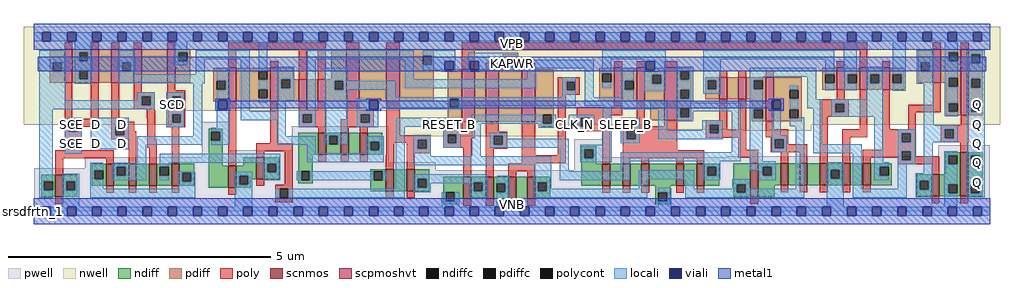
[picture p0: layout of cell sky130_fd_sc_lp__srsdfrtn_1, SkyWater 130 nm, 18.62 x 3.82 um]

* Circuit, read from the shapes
.subckt sky130_fd_sc_lp__srsdfrtn_1 CLK_N D RESET_B SCD SCE SLEEP_B KAPWR VGND VNB VPB VPWR Q
XM1 VGND SCE n1 VNB sky130_fd_pr__nfet_01v8 w=0.42 l=0.15
XM2 n2 SCE n3 VNB sky130_fd_pr__nfet_01v8 w=0.42 l=0.15
XM3 n4 D n2 VNB sky130_fd_pr__nfet_01v8 w=0.42 l=0.15
XM4 n5 n1 n4 VNB sky130_fd_pr__nfet_01v8 w=0.42 l=0.15
XM5 n3 SCD n5 VNB sky130_fd_pr__nfet_01v8 w=0.42 l=0.15
XM6 VGND n6 n7 VNB sky130_fd_pr__nfet_01v8 w=0.42 l=0.15
XM7 n5 RESET_B VGND VNB sky130_fd_pr__nfet_01v8 w=0.42 l=0.15
XM8 n8 n6 n9 VNB sky130_fd_pr__nfet_01v8 w=0.42 l=0.15
XM9 n10 n7 n8 VNB sky130_fd_pr__nfet_01v8 w=0.42 l=0.15
XM10 n2 n7 n10 VNB sky130_fd_pr__nfet_01v8 w=0.42 l=0.15
XM11 n11 n12 n9 VNB sky130_fd_pr__nfet_01v8 w=0.42 l=0.15
XM12 n13 n12 n11 VNB sky130_fd_pr__nfet_01v8 w=0.42 l=0.15
XM13 n13 RESET_B VGND VNB sky130_fd_pr__nfet_01v8 w=0.42 l=0.15
XM14 VGND n14 n13 VNB sky130_fd_pr__nfet_01v8 w=0.42 l=0.15
XM15 n15 n8 VGND VNB sky130_fd_pr__nfet_01v8 w=0.42 l=0.15
XM16 n12 n8 n15 VNB sky130_fd_pr__nfet_01v8 w=0.42 l=0.15
XM17 n16 CLK_N n6 VNB sky130_fd_pr__nfet_01v8 w=0.42 l=0.15
XM18 n17 SLEEP_B n16 VNB sky130_fd_pr__nfet_01v8 w=0.42 l=0.15
XM19 VGND SLEEP_B n17 VNB sky130_fd_pr__nfet_01v8 w=0.42 l=0.15
XM20 n18 SLEEP_B VGND VNB sky130_fd_pr__nfet_01v8 w=0.42 l=0.15
XM21 n14 SLEEP_B n18 VNB sky130_fd_pr__nfet_01v8 w=0.42 l=0.15
XM22 n19 n6 n12 VNB sky130_fd_pr__nfet_01v8 w=0.64 l=0.15
XM23 n20 n7 n19 VNB sky130_fd_pr__nfet_01v8 w=0.42 l=0.15
XM24 n21 n7 n20 VNB sky130_fd_pr__nfet_01v8 w=0.42 l=0.15
XM25 VGND n22 n21 VNB sky130_fd_pr__nfet_01v8 w=0.42 l=0.15
XM26 n23 RESET_B VGND VNB sky130_fd_pr__nfet_01v8 w=0.42 l=0.15
XM27 n22 n19 n23 VNB sky130_fd_pr__nfet_01v8 w=0.42 l=0.15
XM28 VGND n19 n24 VNB sky130_fd_pr__nfet_01v8 w=0.42 l=0.15
XM29 Q n24 VGND VNB sky130_fd_pr__nfet_01v8 w=0.84 l=0.15
XM30 VPWR SCE n1 VPB sky130_fd_pr__pfet_01v8_hvt w=0.64 l=0.15
XM31 n25 SCE VPWR VPB sky130_fd_pr__pfet_01v8_hvt w=0.64 l=0.15
XM32 n2 D n25 VPB sky130_fd_pr__pfet_01v8_hvt w=0.64 l=0.15
XM33 n26 n1 n2 VPB sky130_fd_pr__pfet_01v8_hvt w=0.64 l=0.15
XM34 VPWR SCD n26 VPB sky130_fd_pr__pfet_01v8_hvt w=0.64 l=0.15
XM35 VPWR n6 n7 VPB sky130_fd_pr__pfet_01v8_hvt w=0.64 l=0.15
XM36 n2 RESET_B VPWR VPB sky130_fd_pr__pfet_01v8_hvt w=0.64 l=0.15
XM37 n27 n6 n2 VPB sky130_fd_pr__pfet_01v8_hvt w=0.42 l=0.15
XM38 n8 n6 n27 VPB sky130_fd_pr__pfet_01v8_hvt w=0.42 l=0.15
XM39 n28 n7 n8 VPB sky130_fd_pr__pfet_01v8_hvt w=1 l=0.25
XM40 KAPWR n12 n28 VPB sky130_fd_pr__pfet_01v8_hvt w=1 l=0.25
XM41 n29 RESET_B n8 VPB sky130_fd_pr__pfet_01v8_hvt w=1 l=0.25
XM42 KAPWR n14 n29 VPB sky130_fd_pr__pfet_01v8_hvt w=1 l=0.25
XM43 n12 n8 KAPWR VPB sky130_fd_pr__pfet_01v8_hvt w=1 l=0.25
XM44 n6 CLK_N KAPWR VPB sky130_fd_pr__pfet_01v8_hvt w=0.64 l=0.15
XM45 KAPWR SLEEP_B n6 VPB sky130_fd_pr__pfet_01v8_hvt w=0.64 l=0.15
XM46 n14 SLEEP_B KAPWR VPB sky130_fd_pr__pfet_01v8_hvt w=1 l=0.25
XM47 n30 n6 n31 VPB sky130_fd_pr__pfet_01v8_hvt w=0.42 l=0.15
XM48 n19 n6 n30 VPB sky130_fd_pr__pfet_01v8_hvt w=0.42 l=0.15
XM49 n12 n7 n19 VPB sky130_fd_pr__pfet_01v8_hvt w=0.84 l=0.15
XM50 VPWR n22 n31 VPB sky130_fd_pr__pfet_01v8_hvt w=0.42 l=0.15
XM51 n22 RESET_B VPWR VPB sky130_fd_pr__pfet_01v8_hvt w=0.42 l=0.15
XM52 VPWR n19 n22 VPB sky130_fd_pr__pfet_01v8_hvt w=0.42 l=0.15
XM53 VPWR n19 n24 VPB sky130_fd_pr__pfet_01v8_hvt w=0.64 l=0.15
XM54 Q n24 VPWR VPB sky130_fd_pr__pfet_01v8_hvt w=1.26 l=0.15
.ends

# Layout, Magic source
magic
tech sky130A
magscale 1 2
<< nwell >>
rect -38 383 3686 704
rect -38 331 534 383
rect 1396 331 3686 383
rect 1396 286 2020 331
rect 2316 311 2965 331
rect 2703 307 2965 311
<< pwell >>
rect 640 233 746 341
rect 983 233 1354 325
rect 640 207 1354 233
rect 194 187 1354 207
rect 2062 207 2172 275
rect 3451 209 3647 251
rect 2643 207 3647 209
rect 194 165 1534 187
rect 1 157 1534 165
rect 2062 157 3647 207
rect 1 49 3647 157
rect 0 0 3648 49
<< scnmos >>
rect 82 55 112 139
rect 275 97 305 181
rect 361 97 391 181
rect 439 97 469 181
rect 525 97 555 181
rect 742 89 772 173
rect 849 123 879 207
rect 1085 215 1115 299
rect 1171 215 1201 299
rect 1243 215 1273 299
rect 1343 77 1373 161
rect 1423 77 1453 161
rect 1638 47 1668 131
rect 1724 47 1754 131
rect 1810 47 1840 131
rect 1882 47 1912 131
rect 2168 97 2198 181
rect 2246 97 2276 181
rect 2318 97 2348 181
rect 2450 97 2480 181
rect 2528 97 2558 181
rect 2733 55 2763 183
rect 2849 99 2879 183
rect 2921 99 2951 183
rect 2999 99 3029 183
rect 3085 99 3115 183
rect 3163 99 3193 183
rect 3425 57 3455 141
rect 3534 57 3564 225
<< scpmoshvt >>
rect 117 491 147 619
rect 217 491 247 619
rect 295 491 325 619
rect 381 491 411 619
rect 509 491 539 619
rect 742 419 772 547
rect 902 419 932 547
rect 1011 419 1041 503
rect 1083 419 1113 503
rect 1192 419 1242 619
rect 1345 419 1395 619
rect 1632 341 1682 541
rect 1724 341 1774 541
rect 1862 341 1912 541
rect 2214 419 2244 547
rect 2300 419 2330 547
rect 2405 347 2455 547
rect 2615 427 2645 511
rect 2687 427 2717 511
rect 2792 343 2822 511
rect 3064 463 3094 547
rect 3150 463 3180 547
rect 3236 463 3266 547
rect 3429 491 3459 619
rect 3536 367 3566 619
<< ndiff >>
rect 666 303 720 315
rect 666 269 676 303
rect 710 269 720 303
rect 220 156 275 181
rect 27 114 82 139
rect 27 80 37 114
rect 71 80 82 114
rect 27 55 82 80
rect 112 114 166 139
rect 112 80 123 114
rect 157 80 166 114
rect 220 122 230 156
rect 264 122 275 156
rect 220 97 275 122
rect 305 169 361 181
rect 305 135 316 169
rect 350 135 361 169
rect 305 97 361 135
rect 391 97 439 181
rect 469 169 525 181
rect 469 135 480 169
rect 514 135 525 169
rect 469 97 525 135
rect 555 147 612 181
rect 555 113 566 147
rect 600 113 612 147
rect 555 97 612 113
rect 666 173 720 269
rect 799 173 849 207
rect 112 55 166 80
rect 666 89 742 173
rect 772 135 849 173
rect 772 101 783 135
rect 817 123 849 135
rect 879 182 936 207
rect 879 148 890 182
rect 924 148 936 182
rect 879 123 936 148
rect 817 101 827 123
rect 772 89 827 101
rect 1009 215 1085 299
rect 1115 289 1171 299
rect 1115 255 1126 289
rect 1160 255 1171 289
rect 1115 215 1171 255
rect 1201 215 1243 299
rect 1273 266 1328 299
rect 1273 232 1284 266
rect 1318 232 1328 266
rect 1273 215 1328 232
rect 1009 153 1063 215
rect 1009 119 1019 153
rect 1053 119 1063 153
rect 1009 107 1063 119
rect 1284 153 1343 161
rect 1284 119 1296 153
rect 1330 119 1343 153
rect 1284 77 1343 119
rect 1373 77 1423 161
rect 1453 124 1508 161
rect 2088 237 2146 249
rect 2088 203 2100 237
rect 2134 203 2146 237
rect 2088 181 2146 203
rect 3477 213 3534 225
rect 1453 90 1464 124
rect 1498 90 1508 124
rect 1453 77 1508 90
rect 1562 73 1638 131
rect 1562 39 1572 73
rect 1606 47 1638 73
rect 1668 110 1724 131
rect 1668 76 1679 110
rect 1713 76 1724 110
rect 1668 47 1724 76
rect 1754 106 1810 131
rect 1754 72 1765 106
rect 1799 72 1810 106
rect 1754 47 1810 72
rect 1840 47 1882 131
rect 1912 110 1969 131
rect 1912 76 1923 110
rect 1957 76 1969 110
rect 2088 97 2168 181
rect 2198 97 2246 181
rect 2276 97 2318 181
rect 2348 97 2450 181
rect 2480 97 2528 181
rect 2558 169 2615 181
rect 2558 135 2569 169
rect 2603 135 2615 169
rect 2558 97 2615 135
rect 2669 104 2733 183
rect 1912 47 1969 76
rect 2370 73 2428 97
rect 1606 39 1616 47
rect 1562 27 1616 39
rect 2370 39 2382 73
rect 2416 39 2428 73
rect 2669 70 2681 104
rect 2715 70 2733 104
rect 2669 55 2733 70
rect 2763 170 2849 183
rect 2763 136 2781 170
rect 2815 136 2849 170
rect 2763 99 2849 136
rect 2879 99 2921 183
rect 2951 99 2999 183
rect 3029 158 3085 183
rect 3029 124 3040 158
rect 3074 124 3085 158
rect 3029 99 3085 124
rect 3115 99 3163 183
rect 3193 170 3273 183
rect 3193 136 3227 170
rect 3261 136 3273 170
rect 3477 179 3489 213
rect 3523 179 3534 213
rect 3477 141 3534 179
rect 3193 99 3273 136
rect 3368 116 3425 141
rect 2763 55 2827 99
rect 3368 82 3380 116
rect 3414 82 3425 116
rect 3368 57 3425 82
rect 3455 103 3534 141
rect 3455 69 3489 103
rect 3523 69 3534 103
rect 3455 57 3534 69
rect 3564 213 3621 225
rect 3564 179 3575 213
rect 3609 179 3621 213
rect 3564 103 3621 179
rect 3564 69 3575 103
rect 3609 69 3621 103
rect 3564 57 3621 69
rect 2370 27 2428 39
<< pdiff >>
rect 60 568 117 619
rect 60 534 72 568
rect 106 534 117 568
rect 60 491 117 534
rect 147 607 217 619
rect 147 573 172 607
rect 206 573 217 607
rect 147 537 217 573
rect 147 503 172 537
rect 206 503 217 537
rect 147 491 217 503
rect 247 491 295 619
rect 325 569 381 619
rect 325 535 336 569
rect 370 535 381 569
rect 325 491 381 535
rect 411 491 509 619
rect 539 607 596 619
rect 539 573 550 607
rect 584 573 596 607
rect 539 491 596 573
rect 685 498 742 547
rect 685 464 697 498
rect 731 464 742 498
rect 685 419 742 464
rect 772 535 902 547
rect 772 501 857 535
rect 891 501 902 535
rect 772 465 902 501
rect 772 431 857 465
rect 891 431 902 465
rect 772 419 902 431
rect 932 503 989 547
rect 1135 503 1192 619
rect 932 469 943 503
rect 977 469 1011 503
rect 932 419 1011 469
rect 1041 419 1083 503
rect 1113 498 1192 503
rect 1113 464 1147 498
rect 1181 464 1192 498
rect 1113 419 1192 464
rect 1242 419 1345 619
rect 1395 593 1525 619
rect 1395 559 1483 593
rect 1517 559 1525 593
rect 1395 419 1525 559
rect 1789 588 1840 600
rect 1789 554 1798 588
rect 1832 554 1840 588
rect 1789 541 1840 554
rect 3374 568 3429 619
rect 1579 430 1632 541
rect 1579 396 1587 430
rect 1621 396 1632 430
rect 1579 341 1632 396
rect 1682 341 1724 541
rect 1774 341 1862 541
rect 1912 368 1984 541
rect 2157 527 2214 547
rect 1912 341 1942 368
rect 1934 334 1942 341
rect 1976 334 1984 368
rect 1934 322 1984 334
rect 2157 493 2169 527
rect 2203 493 2214 527
rect 2157 419 2214 493
rect 2244 498 2300 547
rect 2244 464 2255 498
rect 2289 464 2300 498
rect 2244 419 2300 464
rect 2330 521 2405 547
rect 2330 487 2360 521
rect 2394 487 2405 521
rect 2330 419 2405 487
rect 2352 347 2405 419
rect 2455 535 2508 547
rect 2455 501 2466 535
rect 2500 501 2508 535
rect 3007 523 3064 547
rect 2455 464 2508 501
rect 2455 430 2466 464
rect 2500 430 2508 464
rect 2455 393 2508 430
rect 2562 499 2615 511
rect 2562 465 2570 499
rect 2604 465 2615 499
rect 2562 427 2615 465
rect 2645 427 2687 511
rect 2717 499 2792 511
rect 2717 465 2747 499
rect 2781 465 2792 499
rect 2717 427 2792 465
rect 2455 359 2466 393
rect 2500 359 2508 393
rect 2455 347 2508 359
rect 2739 389 2792 427
rect 2739 355 2747 389
rect 2781 355 2792 389
rect 2739 343 2792 355
rect 2822 463 2929 511
rect 3007 489 3019 523
rect 3053 489 3064 523
rect 3007 463 3064 489
rect 3094 523 3150 547
rect 3094 489 3105 523
rect 3139 489 3150 523
rect 3094 463 3150 489
rect 3180 522 3236 547
rect 3180 488 3191 522
rect 3225 488 3236 522
rect 3180 463 3236 488
rect 3266 522 3320 547
rect 3266 488 3277 522
rect 3311 488 3320 522
rect 3374 534 3384 568
rect 3418 534 3429 568
rect 3374 491 3429 534
rect 3459 607 3536 619
rect 3459 573 3491 607
rect 3525 573 3536 607
rect 3459 510 3536 573
rect 3459 491 3491 510
rect 3266 463 3320 488
rect 2822 429 2883 463
rect 2917 429 2929 463
rect 2822 389 2929 429
rect 2822 355 2883 389
rect 2917 355 2929 389
rect 2822 343 2929 355
rect 3481 476 3491 491
rect 3525 476 3536 510
rect 3481 413 3536 476
rect 3481 379 3491 413
rect 3525 379 3536 413
rect 3481 367 3536 379
rect 3566 599 3621 619
rect 3566 565 3577 599
rect 3611 565 3621 599
rect 3566 506 3621 565
rect 3566 472 3577 506
rect 3611 472 3621 506
rect 3566 413 3621 472
rect 3566 379 3577 413
rect 3611 379 3621 413
rect 3566 367 3621 379
<< ndiffc >>
rect 676 269 710 303
rect 37 80 71 114
rect 123 80 157 114
rect 230 122 264 156
rect 316 135 350 169
rect 480 135 514 169
rect 566 113 600 147
rect 783 101 817 135
rect 890 148 924 182
rect 1126 255 1160 289
rect 1284 232 1318 266
rect 1019 119 1053 153
rect 1296 119 1330 153
rect 2100 203 2134 237
rect 1464 90 1498 124
rect 1572 39 1606 73
rect 1679 76 1713 110
rect 1765 72 1799 106
rect 1923 76 1957 110
rect 2569 135 2603 169
rect 2382 39 2416 73
rect 2681 70 2715 104
rect 2781 136 2815 170
rect 3040 124 3074 158
rect 3227 136 3261 170
rect 3489 179 3523 213
rect 3380 82 3414 116
rect 3489 69 3523 103
rect 3575 179 3609 213
rect 3575 69 3609 103
<< pdiffc >>
rect 72 534 106 568
rect 172 573 206 607
rect 172 503 206 537
rect 336 535 370 569
rect 550 573 584 607
rect 697 464 731 498
rect 857 501 891 535
rect 857 431 891 465
rect 943 469 977 503
rect 1147 464 1181 498
rect 1483 559 1517 593
rect 1798 554 1832 588
rect 1587 396 1621 430
rect 1942 334 1976 368
rect 2169 493 2203 527
rect 2255 464 2289 498
rect 2360 487 2394 521
rect 2466 501 2500 535
rect 2466 430 2500 464
rect 2570 465 2604 499
rect 2747 465 2781 499
rect 2466 359 2500 393
rect 2747 355 2781 389
rect 3019 489 3053 523
rect 3105 489 3139 523
rect 3191 488 3225 522
rect 3277 488 3311 522
rect 3384 534 3418 568
rect 3491 573 3525 607
rect 2883 429 2917 463
rect 2883 355 2917 389
rect 3491 476 3525 510
rect 3491 379 3525 413
rect 3577 565 3611 599
rect 3577 472 3611 506
rect 3577 379 3611 413
<< poly >>
rect 117 619 147 645
rect 217 619 247 645
rect 295 619 325 645
rect 381 619 411 645
rect 509 619 539 645
rect 742 615 1113 645
rect 1192 619 1242 645
rect 1345 619 1395 645
rect 742 547 772 615
rect 902 547 932 573
rect 117 353 147 491
rect 217 353 247 491
rect 117 337 247 353
rect 117 303 133 337
rect 167 323 247 337
rect 295 341 325 491
rect 381 455 411 491
rect 509 461 539 491
rect 381 439 461 455
rect 381 405 411 439
rect 445 405 461 439
rect 509 439 577 461
rect 509 431 527 439
rect 381 389 461 405
rect 431 383 461 389
rect 511 405 527 431
rect 561 405 577 439
rect 1011 503 1041 615
rect 1083 503 1113 615
rect 1632 615 3180 645
rect 3429 619 3459 645
rect 3536 619 3566 645
rect 1632 541 1682 615
rect 1724 541 1774 567
rect 1862 541 1912 567
rect 2214 547 2244 573
rect 2300 547 2330 573
rect 2405 547 2455 573
rect 3064 547 3094 573
rect 3150 547 3180 615
rect 3236 547 3266 573
rect 431 353 463 383
rect 295 325 383 341
rect 167 303 183 323
rect 117 269 183 303
rect 295 291 311 325
rect 345 305 383 325
rect 345 291 391 305
rect 295 275 391 291
rect 117 235 133 269
rect 167 235 183 269
rect 117 233 183 235
rect 82 203 305 233
rect 82 139 112 203
rect 275 181 305 203
rect 361 181 391 275
rect 433 273 463 353
rect 511 371 577 405
rect 511 337 527 371
rect 561 337 577 371
rect 511 321 577 337
rect 433 243 469 273
rect 439 181 469 243
rect 525 181 555 321
rect 742 173 772 419
rect 902 259 932 419
rect 1011 387 1041 419
rect 1083 387 1113 419
rect 1192 387 1242 419
rect 1010 371 1115 387
rect 1010 337 1026 371
rect 1060 337 1115 371
rect 1192 371 1297 387
rect 1192 351 1247 371
rect 1010 321 1115 337
rect 1085 299 1115 321
rect 1171 337 1247 351
rect 1281 337 1297 371
rect 1171 321 1297 337
rect 1171 299 1201 321
rect 1243 299 1273 321
rect 849 229 987 259
rect 849 207 879 229
rect 275 71 305 97
rect 361 71 391 97
rect 439 71 469 97
rect 525 71 555 97
rect 849 97 879 123
rect 957 101 987 229
rect 1345 291 1395 419
rect 1632 309 1682 341
rect 1562 293 1682 309
rect 1345 272 1514 291
rect 1345 261 1464 272
rect 1085 189 1115 215
rect 1171 189 1201 215
rect 1243 189 1273 215
rect 1345 213 1375 261
rect 1343 183 1375 213
rect 1423 238 1464 261
rect 1498 238 1514 272
rect 1562 259 1578 293
rect 1612 279 1682 293
rect 1724 304 1774 341
rect 1724 288 1805 304
rect 1612 259 1668 279
rect 1562 243 1668 259
rect 1423 222 1514 238
rect 1343 161 1373 183
rect 1423 161 1453 222
rect 742 63 772 89
rect 921 85 987 101
rect 82 29 112 55
rect 921 51 937 85
rect 971 51 987 85
rect 1638 131 1668 243
rect 1724 254 1755 288
rect 1789 254 1805 288
rect 1724 238 1805 254
rect 1724 131 1754 238
rect 1862 213 1912 341
rect 1999 495 2082 511
rect 1999 461 2032 495
rect 2066 461 2082 495
rect 1999 445 2082 461
rect 1999 213 2029 445
rect 2214 397 2244 419
rect 2071 367 2244 397
rect 2071 356 2198 367
rect 2071 322 2087 356
rect 2121 322 2198 356
rect 2300 325 2330 419
rect 2615 511 2645 537
rect 2687 511 2717 537
rect 2792 511 2822 537
rect 2615 347 2645 427
rect 2405 325 2455 347
rect 2071 306 2198 322
rect 1862 183 2029 213
rect 1810 153 1912 183
rect 1810 131 1840 153
rect 1882 131 1912 153
rect 2168 181 2198 306
rect 2246 309 2455 325
rect 2246 275 2262 309
rect 2296 275 2455 309
rect 2563 331 2645 347
rect 2563 297 2579 331
rect 2613 311 2645 331
rect 2687 311 2717 427
rect 3064 427 3094 463
rect 2999 411 3108 427
rect 2999 377 3058 411
rect 3092 377 3108 411
rect 2999 361 3108 377
rect 2613 297 2717 311
rect 2563 281 2717 297
rect 2792 313 2822 343
rect 2792 283 2879 313
rect 2246 233 2455 275
rect 2687 235 2717 281
rect 2811 275 2879 283
rect 2811 241 2827 275
rect 2861 255 2879 275
rect 2861 241 2951 255
rect 2246 203 2558 233
rect 2687 205 2763 235
rect 2811 225 2951 241
rect 2246 181 2276 203
rect 2318 181 2348 203
rect 2450 181 2480 203
rect 2528 181 2558 203
rect 2733 183 2763 205
rect 2849 183 2879 225
rect 2921 183 2951 225
rect 2999 183 3029 361
rect 3150 313 3180 463
rect 3085 283 3180 313
rect 3236 313 3266 463
rect 3429 407 3459 491
rect 3335 377 3459 407
rect 3335 313 3365 377
rect 3536 329 3566 367
rect 3236 297 3365 313
rect 3085 183 3115 283
rect 3236 263 3312 297
rect 3346 263 3365 297
rect 3459 313 3566 329
rect 3459 279 3475 313
rect 3509 279 3566 313
rect 3459 263 3566 279
rect 3236 235 3365 263
rect 3163 229 3365 235
rect 3163 205 3312 229
rect 3163 183 3193 205
rect 3296 195 3312 205
rect 3346 209 3365 229
rect 3534 225 3564 263
rect 3346 195 3455 209
rect 1343 51 1373 77
rect 1423 51 1453 77
rect 921 35 987 51
rect 2168 71 2198 97
rect 2246 71 2276 97
rect 2318 71 2348 97
rect 1638 21 1668 47
rect 1724 21 1754 47
rect 1810 21 1840 47
rect 1882 21 1912 47
rect 2450 71 2480 97
rect 2528 71 2558 97
rect 3296 179 3455 195
rect 3425 141 3455 179
rect 2849 73 2879 99
rect 2921 73 2951 99
rect 2999 73 3029 99
rect 3085 73 3115 99
rect 3163 73 3193 99
rect 2733 29 2763 55
rect 3425 31 3455 57
rect 3534 31 3564 57
<< polycont >>
rect 133 303 167 337
rect 411 405 445 439
rect 527 405 561 439
rect 311 291 345 325
rect 133 235 167 269
rect 527 337 561 371
rect 1026 337 1060 371
rect 1247 337 1281 371
rect 1464 238 1498 272
rect 1578 259 1612 293
rect 937 51 971 85
rect 1755 254 1789 288
rect 2032 461 2066 495
rect 2087 322 2121 356
rect 2262 275 2296 309
rect 2579 297 2613 331
rect 3058 377 3092 411
rect 2827 241 2861 275
rect 3312 263 3346 297
rect 3475 279 3509 313
rect 3312 195 3346 229
<< locali >>
rect 0 649 31 683
rect 65 649 127 683
rect 161 649 223 683
rect 257 649 319 683
rect 353 649 415 683
rect 449 649 511 683
rect 545 649 607 683
rect 641 649 703 683
rect 737 649 799 683
rect 833 649 895 683
rect 929 649 991 683
rect 1025 649 1087 683
rect 1121 649 1183 683
rect 1217 649 1279 683
rect 1313 649 1375 683
rect 1409 649 1471 683
rect 1505 649 1567 683
rect 1601 649 1663 683
rect 1697 649 1759 683
rect 1793 649 1855 683
rect 1889 649 1951 683
rect 1985 649 2047 683
rect 2081 649 2143 683
rect 2177 649 2239 683
rect 2273 649 2335 683
rect 2369 649 2431 683
rect 2465 649 2527 683
rect 2561 649 2623 683
rect 2657 649 2719 683
rect 2753 649 2815 683
rect 2849 649 2911 683
rect 2945 649 3007 683
rect 3041 649 3103 683
rect 3137 649 3199 683
rect 3233 649 3295 683
rect 3329 649 3391 683
rect 3425 649 3487 683
rect 3521 649 3583 683
rect 3617 649 3648 683
rect 21 568 122 615
rect 21 534 72 568
rect 106 534 122 568
rect 21 424 122 534
rect 156 607 222 649
rect 156 573 172 607
rect 206 573 222 607
rect 156 537 222 573
rect 156 503 172 537
rect 206 503 222 537
rect 156 487 222 503
rect 320 569 386 615
rect 320 535 336 569
rect 370 535 386 569
rect 534 607 584 649
rect 534 573 550 607
rect 534 557 584 573
rect 618 581 823 615
rect 320 523 386 535
rect 618 523 652 581
rect 320 489 652 523
rect 697 498 747 547
rect 395 439 461 455
rect 395 424 411 439
rect 21 405 411 424
rect 445 405 461 439
rect 21 390 461 405
rect 21 114 71 390
rect 395 389 461 390
rect 505 439 574 455
rect 505 405 527 439
rect 561 405 574 439
rect 505 371 574 405
rect 117 337 183 356
rect 117 303 133 337
rect 167 303 183 337
rect 117 269 183 303
rect 117 235 133 269
rect 167 235 183 269
rect 217 325 361 356
rect 217 291 311 325
rect 345 291 361 325
rect 505 337 527 371
rect 561 337 574 371
rect 505 321 574 337
rect 217 236 361 291
rect 608 287 642 489
rect 731 464 747 498
rect 697 424 747 464
rect 697 390 703 424
rect 737 390 747 424
rect 697 319 747 390
rect 789 381 823 581
rect 857 535 891 649
rect 1042 581 1449 615
rect 857 465 891 501
rect 857 415 891 431
rect 927 503 993 551
rect 927 469 943 503
rect 977 469 993 503
rect 927 421 993 469
rect 927 381 961 421
rect 1042 387 1076 581
rect 789 347 961 381
rect 395 253 642 287
rect 676 303 747 319
rect 710 269 747 303
rect 676 253 747 269
rect 927 287 961 347
rect 1010 371 1076 387
rect 1010 337 1026 371
rect 1060 337 1076 371
rect 1010 321 1076 337
rect 1110 498 1197 547
rect 1415 504 1449 581
rect 1483 593 1607 615
rect 1517 572 1607 593
rect 1517 559 1567 572
rect 1483 538 1567 559
rect 1601 538 1607 572
rect 1657 588 1848 604
rect 1657 572 1798 588
rect 1657 538 1663 572
rect 1697 554 1798 572
rect 1832 554 1848 588
rect 2169 581 2410 615
rect 1697 538 1848 554
rect 1882 545 2135 579
rect 1882 504 1916 545
rect 1110 464 1147 498
rect 1181 464 1381 498
rect 1415 470 1916 504
rect 2016 495 2067 511
rect 1110 289 1197 464
rect 1347 436 1381 464
rect 2016 461 2032 495
rect 2066 461 2067 495
rect 2016 436 2067 461
rect 1347 430 2067 436
rect 1231 424 1313 430
rect 1231 390 1279 424
rect 1347 396 1587 430
rect 1621 402 2067 430
rect 2101 436 2135 545
rect 2169 527 2203 581
rect 2329 572 2410 581
rect 2169 470 2203 493
rect 2239 498 2289 547
rect 2239 464 2255 498
rect 2239 436 2289 464
rect 2329 538 2335 572
rect 2369 538 2410 572
rect 2554 581 3053 615
rect 2329 521 2410 538
rect 2329 487 2360 521
rect 2394 487 2410 521
rect 2329 458 2410 487
rect 2450 535 2516 551
rect 2450 501 2466 535
rect 2500 501 2516 535
rect 2450 464 2516 501
rect 2101 424 2289 436
rect 2450 430 2466 464
rect 2500 430 2516 464
rect 2554 499 2620 581
rect 2554 465 2570 499
rect 2604 465 2620 499
rect 2554 449 2620 465
rect 2731 513 2985 547
rect 2731 499 2781 513
rect 2731 465 2747 499
rect 2101 402 2416 424
rect 1621 396 1637 402
rect 1347 390 1637 396
rect 1231 371 1313 390
rect 1231 337 1247 371
rect 1281 337 1313 371
rect 1231 321 1313 337
rect 1380 322 1628 356
rect 927 253 1076 287
rect 1110 255 1126 289
rect 1160 255 1197 289
rect 1268 266 1334 287
rect 117 219 183 235
rect 395 185 429 253
rect 1042 221 1076 253
rect 1268 232 1284 266
rect 1318 232 1334 266
rect 1268 221 1334 232
rect 214 156 264 185
rect 21 80 37 114
rect 21 51 71 80
rect 107 114 173 143
rect 107 80 123 114
rect 157 80 173 114
rect 107 17 173 80
rect 214 122 230 156
rect 214 85 264 122
rect 300 169 429 185
rect 300 135 316 169
rect 350 135 429 169
rect 300 119 429 135
rect 480 185 940 219
rect 1042 187 1334 221
rect 480 169 514 185
rect 874 182 940 185
rect 480 119 514 135
rect 550 147 616 151
rect 550 113 566 147
rect 600 113 616 147
rect 550 85 616 113
rect 214 51 616 85
rect 767 135 833 151
rect 767 101 783 135
rect 817 101 833 135
rect 874 148 890 182
rect 924 148 940 182
rect 874 119 940 148
rect 1003 119 1019 153
rect 1053 119 1296 153
rect 1330 119 1346 153
rect 767 17 833 101
rect 1380 85 1414 322
rect 1561 293 1628 322
rect 1448 272 1514 288
rect 1448 238 1464 272
rect 1498 238 1514 272
rect 1561 259 1578 293
rect 1612 259 1628 293
rect 1561 243 1628 259
rect 1671 334 1942 368
rect 1976 334 1992 368
rect 1448 209 1514 238
rect 1671 209 1705 334
rect 1926 318 1992 334
rect 2041 356 2137 368
rect 2041 322 2087 356
rect 2121 322 2137 356
rect 2041 311 2137 322
rect 1739 288 1805 300
rect 1739 254 1755 288
rect 1789 277 1805 288
rect 1789 254 2041 277
rect 1739 243 2041 254
rect 2171 253 2205 402
rect 2239 390 2416 402
rect 2239 309 2312 356
rect 2239 275 2262 309
rect 2296 275 2312 309
rect 2382 309 2416 390
rect 2450 415 2516 430
rect 2450 393 2697 415
rect 2450 359 2466 393
rect 2500 381 2697 393
rect 2500 359 2516 381
rect 2450 343 2516 359
rect 2550 331 2629 347
rect 2550 309 2579 331
rect 2382 297 2579 309
rect 2613 297 2629 331
rect 2382 275 2629 297
rect 2239 259 2312 275
rect 1448 175 1973 209
rect 921 51 937 85
rect 971 51 1414 85
rect 1448 124 1729 141
rect 1448 90 1464 124
rect 1498 110 1729 124
rect 1498 107 1679 110
rect 1498 90 1514 107
rect 1448 73 1514 90
rect 1663 76 1679 107
rect 1713 76 1729 110
rect 1556 39 1572 73
rect 1606 39 1622 73
rect 1663 51 1729 76
rect 1765 106 1815 135
rect 1799 72 1815 106
rect 1556 17 1622 39
rect 1765 17 1815 72
rect 1907 110 1973 175
rect 2007 153 2041 243
rect 2084 237 2205 253
rect 2084 203 2100 237
rect 2134 203 2205 237
rect 2663 225 2697 381
rect 2084 187 2205 203
rect 2239 191 2697 225
rect 2731 389 2781 465
rect 2883 463 2917 479
rect 2731 355 2747 389
rect 2731 191 2781 355
rect 2815 424 2849 430
rect 2815 291 2849 390
rect 2883 389 2917 429
rect 2951 427 2985 513
rect 3019 523 3053 581
rect 3019 461 3053 489
rect 3089 523 3139 649
rect 3089 489 3105 523
rect 3089 461 3139 489
rect 3175 522 3241 551
rect 3175 488 3191 522
rect 3225 488 3241 522
rect 3175 427 3241 488
rect 3277 522 3327 649
rect 3311 488 3327 522
rect 3277 459 3327 488
rect 3368 568 3434 615
rect 3368 534 3384 568
rect 3418 534 3434 568
rect 3368 487 3434 534
rect 2951 393 3008 427
rect 2917 355 2940 359
rect 2883 325 2940 355
rect 2815 275 2872 291
rect 2815 241 2827 275
rect 2861 241 2872 275
rect 2815 225 2872 241
rect 2239 153 2273 191
rect 2553 169 2619 191
rect 2007 119 2273 153
rect 2307 123 2519 157
rect 1907 76 1923 110
rect 1957 85 1973 110
rect 2307 85 2341 123
rect 1957 76 2341 85
rect 1907 51 2341 76
rect 2382 73 2432 89
rect 2416 39 2432 73
rect 2485 85 2519 123
rect 2553 135 2569 169
rect 2603 135 2619 169
rect 2731 170 2831 191
rect 2731 157 2781 170
rect 2553 119 2619 135
rect 2765 136 2781 157
rect 2815 136 2831 170
rect 2665 104 2731 123
rect 2765 119 2831 136
rect 2665 85 2681 104
rect 2485 70 2681 85
rect 2715 85 2731 104
rect 2906 85 2940 325
rect 2974 255 3008 393
rect 3042 411 3241 427
rect 3042 377 3058 411
rect 3092 377 3241 411
rect 3042 361 3241 377
rect 2974 221 3158 255
rect 2715 70 2940 85
rect 2485 51 2940 70
rect 3024 158 3090 187
rect 3024 124 3040 158
rect 3074 124 3090 158
rect 2382 17 2432 39
rect 3024 17 3090 124
rect 3124 85 3158 221
rect 3207 187 3241 361
rect 3396 329 3434 487
rect 3475 607 3525 649
rect 3475 573 3491 607
rect 3475 510 3525 573
rect 3475 476 3491 510
rect 3475 413 3525 476
rect 3475 379 3491 413
rect 3475 363 3525 379
rect 3559 599 3627 615
rect 3559 565 3577 599
rect 3611 565 3627 599
rect 3559 506 3627 565
rect 3559 472 3577 506
rect 3611 472 3627 506
rect 3559 413 3627 472
rect 3559 379 3577 413
rect 3611 379 3627 413
rect 3396 313 3525 329
rect 3296 297 3362 313
rect 3296 263 3312 297
rect 3346 263 3362 297
rect 3296 229 3362 263
rect 3296 195 3312 229
rect 3346 195 3362 229
rect 3207 170 3261 187
rect 3207 136 3227 170
rect 3207 119 3261 136
rect 3296 179 3362 195
rect 3396 279 3475 313
rect 3509 279 3525 313
rect 3396 263 3525 279
rect 3296 85 3330 179
rect 3396 145 3430 263
rect 3124 51 3330 85
rect 3364 116 3430 145
rect 3364 82 3380 116
rect 3414 82 3430 116
rect 3364 53 3430 82
rect 3473 213 3523 229
rect 3473 179 3489 213
rect 3473 103 3523 179
rect 3473 69 3489 103
rect 3473 17 3523 69
rect 3559 213 3627 379
rect 3559 179 3575 213
rect 3609 179 3627 213
rect 3559 103 3627 179
rect 3559 69 3575 103
rect 3609 69 3627 103
rect 3559 53 3627 69
rect 0 -17 31 17
rect 65 -17 127 17
rect 161 -17 223 17
rect 257 -17 319 17
rect 353 -17 415 17
rect 449 -17 511 17
rect 545 -17 607 17
rect 641 -17 703 17
rect 737 -17 799 17
rect 833 -17 895 17
rect 929 -17 991 17
rect 1025 -17 1087 17
rect 1121 -17 1183 17
rect 1217 -17 1279 17
rect 1313 -17 1375 17
rect 1409 -17 1471 17
rect 1505 -17 1567 17
rect 1601 -17 1663 17
rect 1697 -17 1759 17
rect 1793 -17 1855 17
rect 1889 -17 1951 17
rect 1985 -17 2047 17
rect 2081 -17 2143 17
rect 2177 -17 2239 17
rect 2273 -17 2335 17
rect 2369 -17 2431 17
rect 2465 -17 2527 17
rect 2561 -17 2623 17
rect 2657 -17 2719 17
rect 2753 -17 2815 17
rect 2849 -17 2911 17
rect 2945 -17 3007 17
rect 3041 -17 3103 17
rect 3137 -17 3199 17
rect 3233 -17 3295 17
rect 3329 -17 3391 17
rect 3425 -17 3487 17
rect 3521 -17 3583 17
rect 3617 -17 3648 17
<< viali >>
rect 31 649 65 683
rect 127 649 161 683
rect 223 649 257 683
rect 319 649 353 683
rect 415 649 449 683
rect 511 649 545 683
rect 607 649 641 683
rect 703 649 737 683
rect 799 649 833 683
rect 895 649 929 683
rect 991 649 1025 683
rect 1087 649 1121 683
rect 1183 649 1217 683
rect 1279 649 1313 683
rect 1375 649 1409 683
rect 1471 649 1505 683
rect 1567 649 1601 683
rect 1663 649 1697 683
rect 1759 649 1793 683
rect 1855 649 1889 683
rect 1951 649 1985 683
rect 2047 649 2081 683
rect 2143 649 2177 683
rect 2239 649 2273 683
rect 2335 649 2369 683
rect 2431 649 2465 683
rect 2527 649 2561 683
rect 2623 649 2657 683
rect 2719 649 2753 683
rect 2815 649 2849 683
rect 2911 649 2945 683
rect 3007 649 3041 683
rect 3103 649 3137 683
rect 3199 649 3233 683
rect 3295 649 3329 683
rect 3391 649 3425 683
rect 3487 649 3521 683
rect 3583 649 3617 683
rect 703 390 737 424
rect 1567 538 1601 572
rect 1663 538 1697 572
rect 1279 390 1313 424
rect 2335 538 2369 572
rect 2815 390 2849 424
rect 31 -17 65 17
rect 127 -17 161 17
rect 223 -17 257 17
rect 319 -17 353 17
rect 415 -17 449 17
rect 511 -17 545 17
rect 607 -17 641 17
rect 703 -17 737 17
rect 799 -17 833 17
rect 895 -17 929 17
rect 991 -17 1025 17
rect 1087 -17 1121 17
rect 1183 -17 1217 17
rect 1279 -17 1313 17
rect 1375 -17 1409 17
rect 1471 -17 1505 17
rect 1567 -17 1601 17
rect 1663 -17 1697 17
rect 1759 -17 1793 17
rect 1855 -17 1889 17
rect 1951 -17 1985 17
rect 2047 -17 2081 17
rect 2143 -17 2177 17
rect 2239 -17 2273 17
rect 2335 -17 2369 17
rect 2431 -17 2465 17
rect 2527 -17 2561 17
rect 2623 -17 2657 17
rect 2719 -17 2753 17
rect 2815 -17 2849 17
rect 2911 -17 2945 17
rect 3007 -17 3041 17
rect 3103 -17 3137 17
rect 3199 -17 3233 17
rect 3295 -17 3329 17
rect 3391 -17 3425 17
rect 3487 -17 3521 17
rect 3583 -17 3617 17
<< metal1 >>
rect 0 683 3648 715
rect 0 649 31 683
rect 65 649 127 683
rect 161 649 223 683
rect 257 649 319 683
rect 353 649 415 683
rect 449 649 511 683
rect 545 649 607 683
rect 641 649 703 683
rect 737 649 799 683
rect 833 649 895 683
rect 929 649 991 683
rect 1025 649 1087 683
rect 1121 649 1183 683
rect 1217 649 1279 683
rect 1313 649 1375 683
rect 1409 649 1471 683
rect 1505 649 1567 683
rect 1601 649 1663 683
rect 1697 649 1759 683
rect 1793 649 1855 683
rect 1889 649 1951 683
rect 1985 649 2047 683
rect 2081 649 2143 683
rect 2177 649 2239 683
rect 2273 649 2335 683
rect 2369 649 2431 683
rect 2465 649 2527 683
rect 2561 649 2623 683
rect 2657 649 2719 683
rect 2753 649 2815 683
rect 2849 649 2911 683
rect 2945 649 3007 683
rect 3041 649 3103 683
rect 3137 649 3199 683
rect 3233 649 3295 683
rect 3329 649 3391 683
rect 3425 649 3487 683
rect 3521 649 3583 683
rect 3617 649 3648 683
rect 0 617 3648 649
rect 14 572 3634 589
rect 14 538 1567 572
rect 1601 538 1663 572
rect 1697 538 2335 572
rect 2369 538 3634 572
rect 14 535 3634 538
rect 1555 532 1613 535
rect 1651 532 1709 535
rect 2323 532 2381 535
rect 691 424 749 430
rect 691 390 703 424
rect 737 421 749 424
rect 1267 424 1325 430
rect 1267 421 1279 424
rect 737 393 1279 421
rect 737 390 749 393
rect 691 384 749 390
rect 1267 390 1279 393
rect 1313 421 1325 424
rect 2803 424 2861 430
rect 2803 421 2815 424
rect 1313 393 2815 421
rect 1313 390 1325 393
rect 1267 384 1325 390
rect 2803 390 2815 393
rect 2849 390 2861 424
rect 2803 384 2861 390
rect 0 17 3648 49
rect 0 -17 31 17
rect 65 -17 127 17
rect 161 -17 223 17
rect 257 -17 319 17
rect 353 -17 415 17
rect 449 -17 511 17
rect 545 -17 607 17
rect 641 -17 703 17
rect 737 -17 799 17
rect 833 -17 895 17
rect 929 -17 991 17
rect 1025 -17 1087 17
rect 1121 -17 1183 17
rect 1217 -17 1279 17
rect 1313 -17 1375 17
rect 1409 -17 1471 17
rect 1505 -17 1567 17
rect 1601 -17 1663 17
rect 1697 -17 1759 17
rect 1793 -17 1855 17
rect 1889 -17 1951 17
rect 1985 -17 2047 17
rect 2081 -17 2143 17
rect 2177 -17 2239 17
rect 2273 -17 2335 17
rect 2369 -17 2431 17
rect 2465 -17 2527 17
rect 2561 -17 2623 17
rect 2657 -17 2719 17
rect 2753 -17 2815 17
rect 2849 -17 2911 17
rect 2945 -17 3007 17
rect 3041 -17 3103 17
rect 3137 -17 3199 17
rect 3233 -17 3295 17
rect 3329 -17 3391 17
rect 3425 -17 3487 17
rect 3521 -17 3583 17
rect 3617 -17 3648 17
rect 0 -49 3648 -17
<< labels >>
flabel pwell s 0 0 3648 49 0 FreeSans 200 0 0 0 VNB
port 9 nsew ground bidirectional
flabel nwell s 0 617 3648 666 0 FreeSans 200 0 0 0 VPB
port 10 nsew power bidirectional
rlabel comment s 0 0 0 0 4 srsdfrtn_1
flabel metal1 s 14 535 3634 589 0 FreeSans 200 0 0 0 KAPWR
port 7 nsew power bidirectional
flabel metal1 s 0 617 3648 666 0 FreeSans 340 0 0 0 VPWR
port 11 nsew power bidirectional
flabel metal1 s 0 0 3648 49 0 FreeSans 340 0 0 0 VGND
port 8 nsew ground bidirectional
flabel locali s 1567 316 1601 350 0 FreeSans 340 0 0 0 RESET_B
port 3 nsew signal input
flabel locali s 3583 94 3617 128 0 FreeSans 340 0 0 0 Q
port 12 nsew signal output
flabel locali s 3583 168 3617 202 0 FreeSans 340 0 0 0 Q
port 12 nsew signal output
flabel locali s 3583 242 3617 276 0 FreeSans 340 0 0 0 Q
port 12 nsew signal output
flabel locali s 3583 316 3617 350 0 FreeSans 340 0 0 0 Q
port 12 nsew signal output
flabel locali s 3583 390 3617 424 0 FreeSans 340 0 0 0 Q
port 12 nsew signal output
flabel locali s 2239 316 2273 350 0 FreeSans 340 0 0 0 SLEEP_B
port 6 nsew signal input
flabel locali s 511 390 545 424 0 FreeSans 340 0 0 0 SCD
port 4 nsew signal input
flabel locali s 223 242 257 276 0 FreeSans 340 0 0 0 D
port 2 nsew signal input
flabel locali s 223 316 257 350 0 FreeSans 340 0 0 0 D
port 2 nsew signal input
flabel locali s 319 242 353 276 0 FreeSans 340 0 0 0 D
port 2 nsew signal input
flabel locali s 319 316 353 350 0 FreeSans 340 0 0 0 D
port 2 nsew signal input
flabel locali s 2047 316 2081 350 0 FreeSans 340 0 0 0 CLK_N
port 1 nsew clock input
flabel locali s 127 242 161 276 0 FreeSans 340 0 0 0 SCE
port 5 nsew signal input
flabel locali s 127 316 161 350 0 FreeSans 340 0 0 0 SCE
port 5 nsew signal input
<< properties >>
string LEFsite unit
string LEFclass CORE
string FIXED_BBOX 0 0 3648 666
string GDS_FILE $PDKPATH/libs.ref/sky130_fd_sc_lp/gds/sky130_fd_sc_lp.gds
string LEFsymmetry X Y R90
string GDS_END 2632006
string GDS_START 2607980
<< end >>
